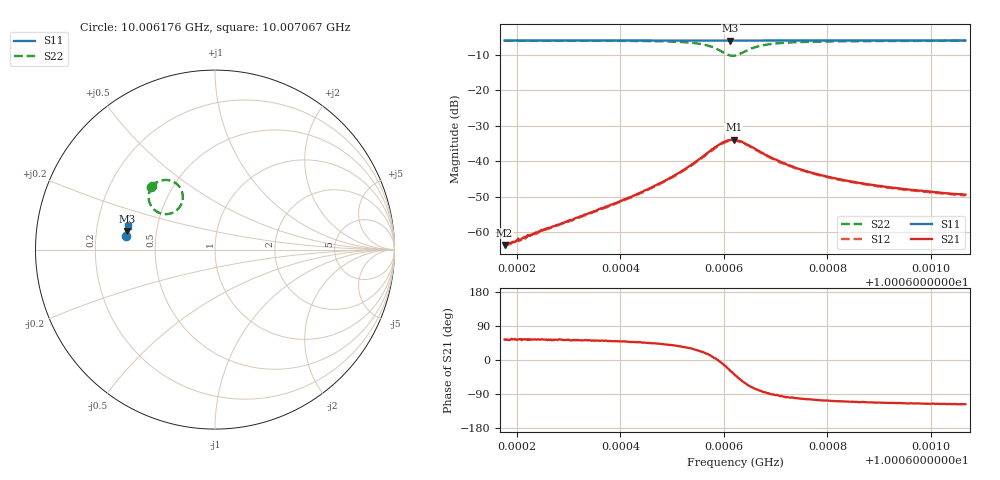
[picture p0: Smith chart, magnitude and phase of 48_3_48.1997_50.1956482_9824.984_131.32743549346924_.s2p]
#  HZ  S  RI  R  50.00
! Rohde & Schwarz Vector Network Analyzer
! Rohde-Schwarz,ZNB20-2Port,1311601062101988,3.16
! Created: UTC 3/20/2024, 11:38:09 AM
! freq[Hz]  re:S11  im:S11  re:S21  im:S21  re:S12  im:S12  re:S22  im:S22
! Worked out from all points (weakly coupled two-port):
!   401 points, 10.006176 GHz to 10.007067 GHz, reference 50 ohm
!   highest |S21| = -33.95 dB at 10.006619 GHz (marker M1); lowest = -63.6 dB at 10.006176 GHz (marker M2)
!   lowest |S11| = -6.0 dB at 10.006613 GHz (marker M3), VSWR 3.01, Z = 16.8 + j4.55 ohm
!   |S11| at or under -10 dB: nowhere
!   |S22| runs from -10.3 to -6.0 dB; largest |S21 - S12| = 0.0014
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1.00061764e10  -0.4965 0.0738  0.000387 0.000536  0.000342 0.000537  -0.3562 0.35
1.00062253e10  -0.4961 0.0771  0.000531 0.000707  0.000512 0.00073  -0.352 0.3539
1.00063255e10  -0.4951 0.0835  0.00104 0.00131  0.000948 0.00135  -0.3417 0.3634
1.00064212e10  -0.494 0.0898  0.00213 0.00233  0.00197 0.00238  -0.3248 0.3751
1.00064746e10  -0.4935 0.0933  0.00352 0.00329  0.00329 0.00333  -0.307 0.3829
1.00065146e10  -0.4929 0.0962  0.0056 0.0041  0.0053 0.00428  -0.2835 0.3879
1.00065636e10  -0.4918 0.0993  0.0117 0.00391  0.0111 0.00432  -0.225 0.3742
1.00065792e10  -0.4913 0.1002  0.0148 0.00202  0.0143 0.00267  -0.1985 0.3503
1.00065925e10  -0.4908 0.1007  0.0174 -0.00141  0.0171 -0.0004  -0.1815 0.3133
1.00066036e10  -0.4904 0.1011  0.0183 -0.00553  0.0181 -0.00449  -0.1816 0.2717
1.00066125e10  -0.4903 0.1015  0.0174 -0.00961  0.0176 -0.00821  -0.1965 0.238
1.00066192e10  -0.4903 0.1014  0.0161 -0.012  0.0163 -0.0107  -0.216 0.2176
1.00066214e10  -0.4903 0.1013  0.0153 -0.0127  0.0157 -0.0114  -0.2237 0.2121
1.00066393e10  -0.4907 0.1022  0.00913 -0.0156  0.00992 -0.0148  -0.2879 0.1985
1.00066548e10  -0.491 0.1031  0.00485 -0.015  0.00539 -0.0145  -0.3284 0.2144
1.00066726e10  -0.4911 0.1042  0.00181 -0.0131  0.00243 -0.0129  -0.3533 0.2395
1.00067105e10  -0.491 0.107  -0.000831 -0.00965  -0.000355 -0.00945  -0.3687 0.2805
1.00067394e10  -0.4907 0.1091  -0.00148 -0.00791  -0.0011 -0.00785  -0.3693 0.3
1.00067705e10  -0.4904 0.1111  -0.00169 -0.00663  -0.00138 -0.00659  -0.3672 0.3143
1.00068306e10  -0.4897 0.1151  -0.00179 -0.00516  -0.00152 -0.00512  -0.3617 0.3317
1.00069196e10  -0.4885 0.1207  -0.00172 -0.00394  -0.00149 -0.00397  -0.3537 0.3465
1.00070665e10  -0.4865 0.1302  -0.00152 -0.00303  -0.00136 -0.00303  -0.343 0.3616
